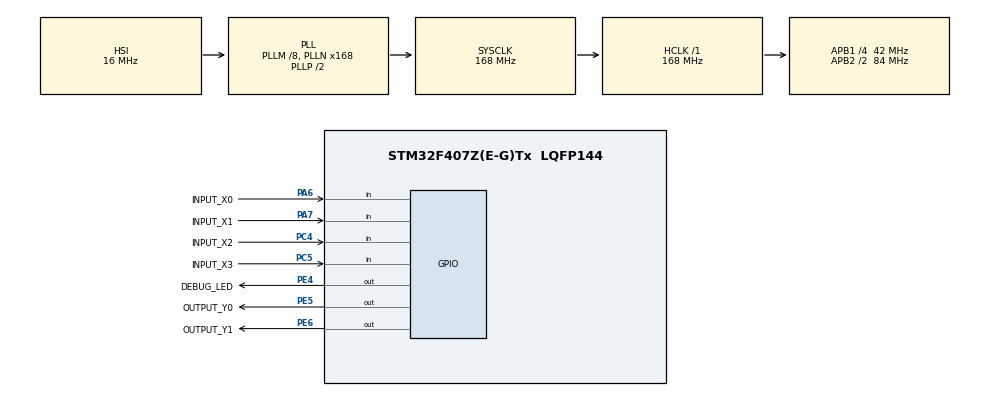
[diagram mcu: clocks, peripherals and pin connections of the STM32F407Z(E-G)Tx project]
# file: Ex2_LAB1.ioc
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Mcu.Family=STM32F4
Mcu.Name=STM32F407Z(E-G)Tx
Mcu.Package=LQFP144
NVIC.PriorityGroup=NVIC_PRIORITYGROUP_4
PA13.Mode=Serial_Wire
PA13.Signal=SYS_JTMS-SWDIO
PA14.Mode=Serial_Wire
PA14.Signal=SYS_JTCK-SWCLK
PA6.GPIO_Label=INPUT_X0
PA6.Signal=GPIO_Input
PA7.GPIO_Label=INPUT_X1
PA7.Signal=GPIO_Input
PC4.GPIO_Label=INPUT_X2
PC4.Signal=GPIO_Input
PC5.GPIO_Label=INPUT_X3
PC5.Signal=GPIO_Input
PE4.GPIO_Label=DEBUG_LED
PE4.Signal=GPIO_Output
PE5.GPIO_Label=OUTPUT_Y0
PE5.Signal=GPIO_Output
PE6.GPIO_Label=OUTPUT_Y1
PE6.Signal=GPIO_Output
PH0-OSC_IN.Mode=HSE-External-Oscillator
PH0-OSC_IN.Signal=RCC_OSC_IN
PH1-OSC_OUT.Mode=HSE-External-Oscillator
PH1-OSC_OUT.Signal=RCC_OSC_OUT
ProjectManager.HeapSize=0x200
ProjectManager.StackSize=0x400
ProjectManager.TargetToolchain=STM32CubeIDE
RCC.48MHZClocksFreq_Value=84000000
RCC.AHBFreq_Value=168000000
RCC.APB1CLKDivider=RCC_HCLK_DIV4
RCC.APB1Freq_Value=42000000
RCC.APB1TimFreq_Value=84000000
RCC.APB2CLKDivider=RCC_HCLK_DIV2
RCC.APB2Freq_Value=84000000
RCC.APB2TimFreq_Value=168000000
RCC.CortexFreq_Value=168000000
RCC.HCLKFreq_Value=168000000
RCC.HSE_VALUE=8000000
RCC.HSI_VALUE=16000000
RCC.LSE_VALUE=32768
RCC.PLLM=8
RCC.PLLN=168
RCC.SYSCLKFreq_VALUE=168000000
RCC.SYSCLKSource=RCC_SYSCLKSOURCE_PLLCLK
RCC.VCOOutputFreq_Value=336000000
board=custom

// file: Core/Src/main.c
/* USER CODE BEGIN Header */
/**
  ******************************************************************************
  * @file           : main.c
  * @brief          : Main program body
  ******************************************************************************
  * @attention
  *
  * <h2><center>&copy; Copyright (c) 2024 STMicroelectronics.
  * All rights reserved.</center></h2>
  *
  * This software component is licensed by ST under BSD 3-Clause license,
  * the "License"; You may not use this file except in compliance with the
  * License. You may obtain a copy of the License at:
  *                        opensource.org/licenses/BSD-3-Clause
  *
  ******************************************************************************
  */
/* USER CODE END Header */
#include "main.h"

void SystemClock_Config(void);
static void MX_GPIO_Init(void);

int main(void)
{

  /* MCU Configuration--------------------------------------------------------*/

  /* Reset of all peripherals, Initializes the Flash interface and the Systick. */
  HAL_Init();

  /* Configure the system clock */
  SystemClock_Config();

  /* Initialize all configured peripherals */
  MX_GPIO_Init();

  /* Infinite loop */
  /* USER CODE BEGIN WHILE */
  enum State{
	  ON,
	  OFF,
  }; //Initialize the state of DEBUG_LED
  int count = 2;  //Initialize time-counter
  enum State currentState = ON;
  while (1)
  {
	  HAL_GPIO_WritePin(DEBUG_LED_GPIO_Port, DEBUG_LED_Pin, 0);
	  switch (currentState) {
	  case ON:
		  HAL_GPIO_WritePin(DEBUG_LED_GPIO_Port, DEBUG_LED_Pin, 1);
		  count--;
		  if (count <= 0){
			  currentState = OFF;
			  count = 4;
		  }
		  break;
	  case OFF:
		  HAL_GPIO_WritePin(DEBUG_LED_GPIO_Port, DEBUG_LED_Pin, 0);
		  count--;
		  if (count <= 0) {
			  currentState = ON;
			  count = 2;
		  }
		  break;
	  }
	  HAL_Delay(1000);

    /* USER CODE END WHILE */

  }
}

void SystemClock_Config(void)
{
  RCC_OscInitTypeDef RCC_OscInitStruct = {0};
  RCC_ClkInitTypeDef RCC_ClkInitStruct = {0};

  /** Configure the main internal regulator output voltage
  */
  __HAL_RCC_PWR_CLK_ENABLE();
  __HAL_PWR_VOLTAGESCALING_CONFIG(PWR_REGULATOR_VOLTAGE_SCALE1);
  /** Initializes the RCC Oscillators according to the specified parameters
  * in the RCC_OscInitTypeDef structure.
  */
  RCC_OscInitStruct.OscillatorType = RCC_OSCILLATORTYPE_HSI;
  RCC_OscInitStruct.HSIState = RCC_HSI_ON;
  RCC_OscInitStruct.HSICalibrationValue = RCC_HSICALIBRATION_DEFAULT;
  RCC_OscInitStruct.PLL.PLLState = RCC_PLL_ON;
  RCC_OscInitStruct.PLL.PLLSource = RCC_PLLSOURCE_HSI;
  RCC_OscInitStruct.PLL.PLLM = 8;
  RCC_OscInitStruct.PLL.PLLN = 168;
  RCC_OscInitStruct.PLL.PLLP = RCC_PLLP_DIV2;
  RCC_OscInitStruct.PLL.PLLQ = 4;
  if (HAL_RCC_OscConfig(&RCC_OscInitStruct) != HAL_OK)
  {
    Error_Handler();
  }
  /** Initializes the CPU, AHB and APB buses clocks
  */
  RCC_ClkInitStruct.ClockType = RCC_CLOCKTYPE_HCLK|RCC_CLOCKTYPE_SYSCLK
                              |RCC_CLOCKTYPE_PCLK1|RCC_CLOCKTYPE_PCLK2;
  RCC_ClkInitStruct.SYSCLKSource = RCC_SYSCLKSOURCE_PLLCLK;
  RCC_ClkInitStruct.AHBCLKDivider = RCC_SYSCLK_DIV1;
  RCC_ClkInitStruct.APB1CLKDivider = RCC_HCLK_DIV4;
  RCC_ClkInitStruct.APB2CLKDivider = RCC_HCLK_DIV2;

  if (HAL_RCC_ClockConfig(&RCC_ClkInitStruct, FLASH_LATENCY_5) != HAL_OK)
  {
    Error_Handler();
  }
}

static void MX_GPIO_Init(void)
{
  GPIO_InitTypeDef GPIO_InitStruct = {0};

  /* GPIO Ports Clock Enable */
  __HAL_RCC_GPIOE_CLK_ENABLE();
  __HAL_RCC_GPIOH_CLK_ENABLE();
  __HAL_RCC_GPIOA_CLK_ENABLE();
  __HAL_RCC_GPIOC_CLK_ENABLE();

  /*Configure GPIO pin Output Level */
  HAL_GPIO_WritePin(GPIOE, DEBUG_LED_Pin|OUTPUT_Y0_Pin|OUTPUT_Y1_Pin, GPIO_PIN_RESET);

  /*Configure GPIO pins : DEBUG_LED_Pin OUTPUT_Y0_Pin OUTPUT_Y1_Pin */
  GPIO_InitStruct.Pin = DEBUG_LED_Pin|OUTPUT_Y0_Pin|OUTPUT_Y1_Pin;
  GPIO_InitStruct.Mode = GPIO_MODE_OUTPUT_PP;
  GPIO_InitStruct.Pull = GPIO_NOPULL;
  GPIO_InitStruct.Speed = GPIO_SPEED_FREQ_LOW;
  HAL_GPIO_Init(GPIOE, &GPIO_InitStruct);

  /*Configure GPIO pins : INPUT_X0_Pin INPUT_X1_Pin */
  GPIO_InitStruct.Pin = INPUT_X0_Pin|INPUT_X1_Pin;
  GPIO_InitStruct.Mode = GPIO_MODE_INPUT;
  GPIO_InitStruct.Pull = GPIO_NOPULL;
  HAL_GPIO_Init(GPIOA, &GPIO_InitStruct);

  /*Configure GPIO pins : INPUT_X2_Pin INPUT_X3_Pin */
  GPIO_InitStruct.Pin = INPUT_X2_Pin|INPUT_X3_Pin;
  GPIO_InitStruct.Mode = GPIO_MODE_INPUT;
  GPIO_InitStruct.Pull = GPIO_NOPULL;
  HAL_GPIO_Init(GPIOC, &GPIO_InitStruct);

}

void Error_Handler(void)
{
  __disable_irq();
  while (1)
  {
  }
}

/************************ (C) COPYRIGHT STMicroelectronics *****END OF FILE****/
